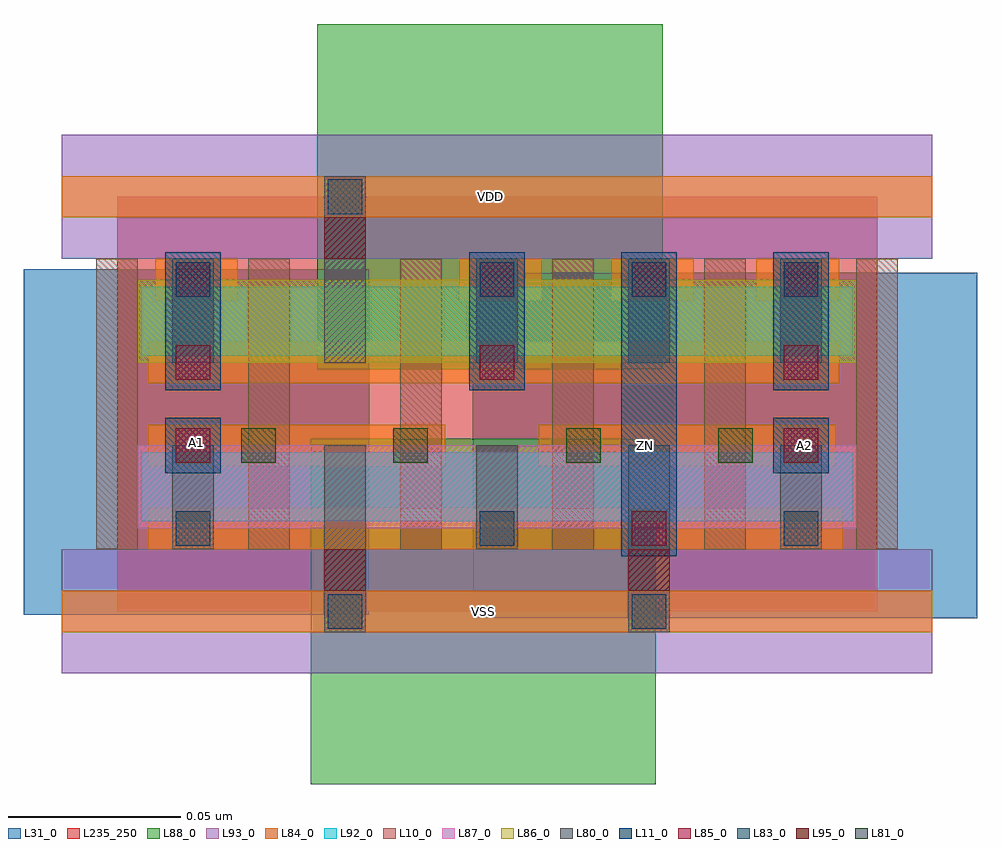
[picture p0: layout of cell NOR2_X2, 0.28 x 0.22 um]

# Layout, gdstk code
import gdstk
lib = gdstk.Library(unit=1e-6, precision=1e-09)
def R(c, l, rs):  # rectangles x0, y0, x1, y1
    for r in rs: c.add(gdstk.rectangle(r[:2], r[2:], *l))
def A(c, l, x, y, w, h, nx, ny, dx, dy):  # array of equal rectangles
    R(c, l, [(x+i*dx, y+j*dy, x+i*dx+w, y+j*dy+h) for i in range(nx) for j in range(ny)])
L10_0 = (10, 0)
L11_0 = (11, 0)
L31_0 = (31, 0)
L80_0 = (80, 0)
L81_0 = (81, 0)
L83_0 = (83, 0)
L84_0 = (84, 0)
L85_0 = (85, 0)
L86_0 = (86, 0)
L87_0 = (87, 0)
L88_0 = (88, 0)
L92_0 = (92, 0)
L93_0 = (93, 0)
L95_0 = (95, 0)
L235_250 = (235, 250)

nor2_x2 = lib.new_cell('NOR2_X2')
A(nor2_x2, L10_0, -0.006, 0.018, 0.012, 0.084, 6, 1, 0.044, 0)
A(nor2_x2, L11_0, 0.014, 0.064, 0.016, 0.04, 3, 1, 0.088, 0)
R(nor2_x2, L11_0, [(0.146,0.016,0.162,0.104), (0.014,0.04,0.03,0.056), (0.19,0.04,0.206,0.056)])
R(nor2_x2, L31_0, [(0.103,-0.002,0.203,0.098), (0.149,-0.002,0.249,0.098), (-0.027,-0.001,0.073,0.099)])
A(nor2_x2, L80_0, 0.016, 0.018, 0.012, 0.03, 3, 1, 0.088, 0)
A(nor2_x2, L80_0, 0.104, 0.072, 0.012, 0.03, 3, 1, 0.044, 0)
R(nor2_x2, L80_0, [(0.06,-0.006,0.072,0.048), (0.148,-0.006,0.16,0.048), (0.016,0.072,0.028,0.102), (0.06,0.072,0.072,0.126)])
R(nor2_x2, L81_0, [(0.036,0.043,0.046,0.053), (0.08,0.043,0.09,0.053), (0.13,0.043,0.14,0.053), (0.174,0.043,0.184,0.053)])
A(nor2_x2, L83_0, 0.017, 0.019, 0.01, 0.01, 3, 1, 0.088, 0)
A(nor2_x2, L83_0, 0.105, 0.091, 0.01, 0.01, 3, 1, 0.044, 0)
R(nor2_x2, L83_0, [(0.061,-0.005,0.071,0.005), (0.149,-0.005,0.159,0.005), (0.017,0.091,0.027,0.101), (0.061,0.115,0.071,0.125)])
R(nor2_x2, L84_0, [(-0.016,-0.006,0.236,0.006), (0.009,0.018,0.21,0.03), (0.009,0.042,0.095,0.054), (0.122,0.042,0.208,0.054), (0.009,0.066,0.209,0.078), (0.011,0.09,0.035,0.102), (0.099,0.09,0.123,0.102), (0.143,0.09,0.167,0.102), (0.185,0.09,0.209,0.102), (-0.016,0.114,0.236,0.126)])
A(nor2_x2, L85_0, 0.017, 0.067, 0.01, 0.01, 3, 1, 0.088, 0)
A(nor2_x2, L85_0, 0.105, 0.091, 0.01, 0.01, 3, 1, 0.044, 0)
R(nor2_x2, L85_0, [(0.149,0.019,0.159,0.029), (0.017,0.043,0.027,0.053), (0.193,0.043,0.203,0.053), (0.017,0.091,0.027,0.101)])
R(nor2_x2, L86_0, [(0.006,0.072,0.214,0.096)])
R(nor2_x2, L87_0, [(0.006,0.024,0.214,0.048)])
R(nor2_x2, L88_0, [(0.056,-0.05,0.156,0.05), (0.058,0.07,0.158,0.17)])
R(nor2_x2, L92_0, [(0.007,0.026,0.213,0.046), (0.007,0.074,0.213,0.094)])
R(nor2_x2, L93_0, [(-0.016,-0.018,0.236,0.018), (-0.016,0.102,0.236,0.138)])
R(nor2_x2, L95_0, [(0.06,0.006,0.072,0.018), (0.148,0.006,0.16,0.018), (0.06,0.102,0.072,0.114)])
R(nor2_x2, L235_250, [(0,0,0.22,0.12)])
nor2_x2.add(gdstk.Label('VDD', (0.108,0.12), layer=88, texttype=0))
nor2_x2.add(gdstk.Label('VSS', (0.106,0), layer=88, texttype=0))
nor2_x2.add(gdstk.Label('A2', (0.199,0.048), layer=31, texttype=0))
nor2_x2.add(gdstk.Label('A1', (0.023,0.049), layer=31, texttype=0))
nor2_x2.add(gdstk.Label('ZN', (0.153,0.048), layer=31, texttype=0))

lib.write_gds('NOR2_X2.gds')
